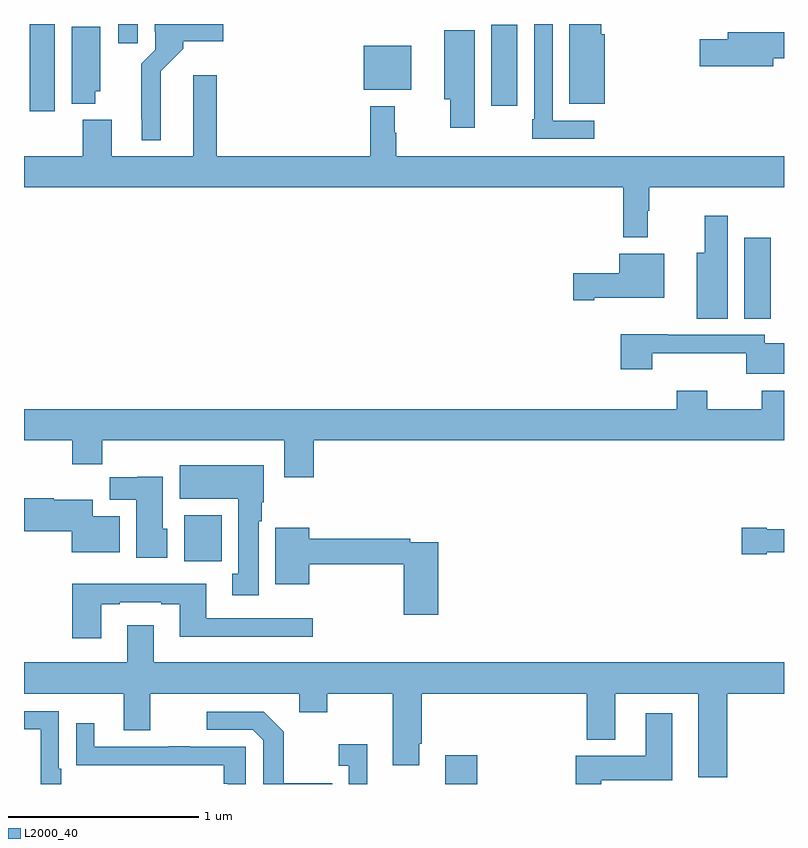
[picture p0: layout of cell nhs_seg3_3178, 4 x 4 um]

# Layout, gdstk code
import gdstk
lib = gdstk.Library(unit=1e-6, precision=1e-09)
def R(c, l, rs):  # rectangles x0, y0, x1, y1
    for r in rs: c.add(gdstk.rectangle(r[:2], r[2:], *l))
def P(c, l, *ps):  # polygons
    for p in ps: c.add(gdstk.Polygon(p, *l))
L2000_40 = (2000, 40)

nhs_seg3_3178 = lib.new_cell('nhs_seg3_3178')
R(nhs_seg3_3178, L2000_40, [(277.217,740.4,277.385,740.551), (275.843,741.572,276.04,741.814), (278.792,742.849,278.929,743.275), (275.03,743.94,275.161,744.4), (277.46,743.97,277.597,744.395), (276.788,744.053,277.039,744.286), (275.495,744.3,275.599,744.4)])
P(nhs_seg3_3178, L2000_40, [(275.719,744.152),(275.837,744.27),(275.837,744.308),(276.049,744.308),(276.049,744.4),(275.687,744.4),(275.687,744.358),(275.691,744.358),(275.691,744.264),(275.617,744.19),(275.617,743.899),(275.621,743.899),(275.621,743.789),(275.719,743.789)],
  [(278.056,744.345),(278.038,744.345),(278.038,744.4),(277.871,744.4),(277.871,743.981),(278.056,743.981)],
  [(278.002,743.892),(277.782,743.892),(277.782,744.4),(277.686,744.4),(277.686,743.899),(277.674,743.899),(277.674,743.796),(278.002,743.796)],
  [(275.374,744.045),(275.401,744.045),(275.401,744.386),(275.252,744.386),(275.252,743.981),(275.374,743.981)],
  [(277.372,744.367),(277.211,744.367),(277.211,744.005),(277.243,744.005),(277.243,743.853),(277.372,743.853)],
  [(278.944,744.22),(279,744.22),(279,744.356),(278.705,744.356),(278.705,744.32),(278.556,744.32),(278.556,744.178),(278.944,744.178)],
  [(278.284,743.417),(278.291,743.417),(278.291,743.54),(279,743.54),(279,743.704),(276.959,743.704),(276.959,743.828),(276.952,743.828),(276.952,743.968),(276.823,743.968),(276.823,743.704),(276.014,743.704),(276.014,744.13),(275.891,744.13),(275.891,743.704),(275.461,743.704),(275.461,743.896),(275.309,743.896),(275.309,743.704),(275,743.704),(275,743.54),(278.155,743.54),(278.155,743.277),(278.284,743.277)],
  [(278.704,743.392),(278.582,743.392),(278.582,743.197),(278.54,743.197),(278.54,742.849),(278.704,742.849)],
  [(278.002,742.958),(278.371,742.958),(278.371,743.191),(278.132,743.191),(278.132,743.088),(277.89,743.088),(277.89,742.946),(278.002,742.946)],
  [(279,742.72),(278.898,742.72),(278.898,742.764),(278.389,742.764),(278.389,742.766),(278.141,742.766),(278.141,742.584),(278.306,742.584),(278.306,742.667),(278.802,742.667),(278.802,742.559),(279,742.559)],
  [(279,742.471),(278.884,742.471),(278.884,742.372),(278.595,742.372),(278.595,742.471),(278.435,742.471),(278.435,742.372),(275,742.372),(275,742.208),(275.255,742.208),(275.255,742.084),(275.411,742.084),(275.411,742.208),(276.371,742.208),(276.371,742.014),(276.524,742.014),(276.524,742.208),(279,742.208)],
  [(276.235,741.782),(276.25,741.782),(276.25,741.882),(276.262,741.882),(276.262,742.078),(275.819,742.078),(275.819,741.902),(276.128,741.902),(276.128,741.506),(276.095,741.506),(276.095,741.393),(276.235,741.393)],
  [(275.755,741.744),(275.731,741.744),(275.731,742.018),(275.595,742.018),(275.595,742.014),(275.452,742.014),(275.452,741.896),(275.591,741.896),(275.591,741.59),(275.755,741.59)],
  [(275.503,741.808),(275.362,741.808),(275.362,741.895),(275.156,741.895),(275.156,741.903),(275,741.903),(275,741.731),(275.252,741.731),(275.252,741.62),(275.503,741.62)],
  [(278.91,741.62),(279,741.62),(279,741.742),(278.91,741.742),(278.91,741.75),(278.778,741.75),(278.778,741.608),(278.91,741.608)],
  [(277.181,741.672),(277.034,741.672),(277.034,741.692),(276.502,741.692),(276.502,741.748),(276.323,741.748),(276.323,741.452),(276.502,741.452),(276.502,741.556),(276.998,741.556),(276.998,741.291),(277.181,741.291)],
  [(275.407,741.345),(275.503,741.345),(275.503,741.357),(275.723,741.357),(275.723,741.345),(275.819,741.345),(275.819,741.176),(276.52,741.176),(276.52,741.273),(275.959,741.273),(275.959,741.454),(275.255,741.454),(275.255,741.168),(275.407,741.168)],
  [(278.702,740.876),(279,740.876),(279,741.04),(275.683,741.04),(275.683,741.235),(275.543,741.235),(275.543,741.04),(275,741.04),(275,740.876),(275.525,740.876),(275.525,740.682),(275.665,740.682),(275.665,740.876),(276.449,740.876),(276.449,740.777),(276.597,740.777),(276.597,740.876),(276.941,740.876),(276.941,740.499),(277.081,740.499),(277.081,740.611),(277.094,740.611),(277.094,740.876),(277.961,740.876),(277.961,740.633),(278.113,740.633),(278.113,740.876),(278.549,740.876),(278.549,740.435),(278.702,740.435)],
  [(275.197,740.479),(275.184,740.479),(275.184,740.784),(275,740.784),(275,740.688),(275.088,740.688),(275.088,740.4),(275.197,740.4)],
  [(276.623,740.403),(276.367,740.403),(276.367,740.675),(276.261,740.781),(275.961,740.781),(275.961,740.685),(276.204,740.685),(276.258,740.631),(276.258,740.4),(276.623,740.4)],
  [(278.038,740.42),(278.413,740.42),(278.413,740.773),(278.273,740.773),(278.273,740.548),(277.904,740.548),(277.904,740.4),(278.038,740.4)],
  [(276.168,740.595),(275.873,740.595),(275.873,740.6),(275.761,740.6),(275.761,740.595),(275.371,740.595),(275.371,740.719),(275.275,740.719),(275.275,740.5),(275.377,740.5),(275.377,740.499),(276.052,740.499),(276.052,740.402),(276.072,740.402),(276.072,740.4),(276.168,740.4)],
  [(276.806,740.608),(276.657,740.608),(276.657,740.495),(276.708,740.495),(276.708,740.4),(276.806,740.4)])

lib.write_gds('nhs_seg3_3178.gds')
